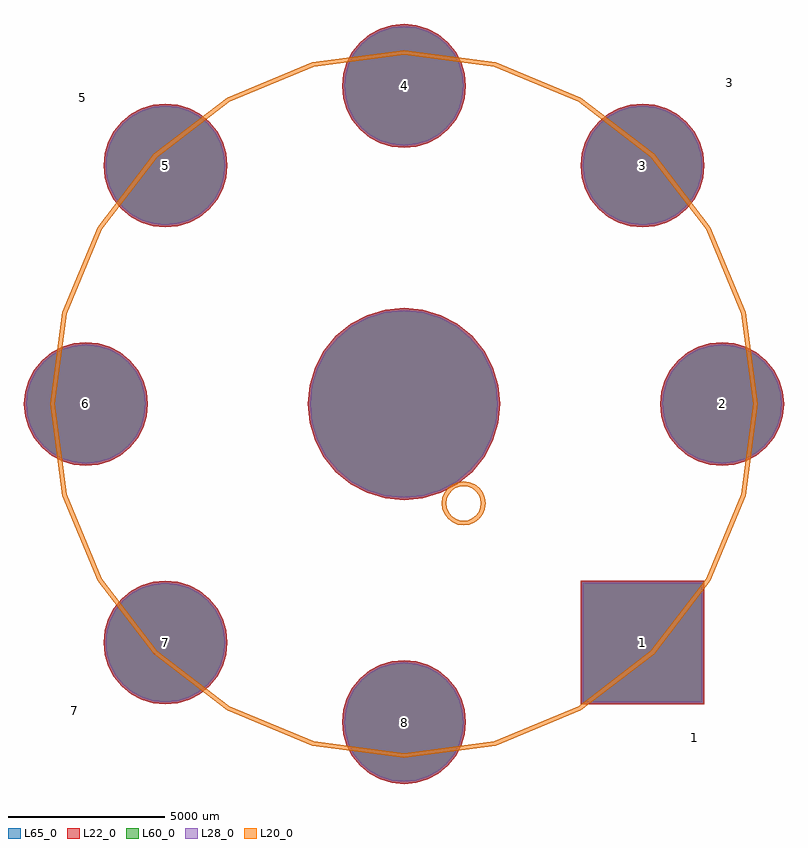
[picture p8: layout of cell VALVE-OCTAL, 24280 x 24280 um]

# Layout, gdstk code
import gdstk
lib = gdstk.Library(unit=1e-6, precision=1e-09)
def R(c, l, rs):  # rectangles x0, y0, x1, y1
    for r in rs: c.add(gdstk.rectangle(r[:2], r[2:], *l))
def P(c, l, *ps):  # polygons
    for p in ps: c.add(gdstk.Polygon(p, *l))
L20_0 = (20, 0)
L22_0 = (22, 0)
L28_0 = (28, 0)
L60_0 = (60, 0)
L65_0 = (65, 0)

valve_octal = lib.new_cell('VALVE-OCTAL')
R(valve_octal, L22_0, [(5640,-9600,9600,-5640)])
P(valve_octal, L22_0, [(3074.74,0),(3015.66,599.852),(2840.689,1176.652),(2556.553,1708.234),(2174.17,2174.17),(1708.234,2556.553),(1176.652,2840.689),(599.852,3015.66),(0,3074.74),(-599.852,3015.66),(-1176.652,2840.689),(-1708.234,2556.553),(-2174.17,2174.17),(-2556.553,1708.234),(-2840.689,1176.652),(-3015.66,599.852),(-3074.74,0),(-3015.66,-599.852),(-2840.689,-1176.652),(-2556.553,-1708.234),(-2174.17,-2174.17),(-1708.234,-2556.553),(-1176.652,-2840.689),(-599.852,-3015.66),(0,-3074.74),(599.852,-3015.66),(1176.652,-2840.689),(1708.234,-2556.553),(2174.17,-2174.17),(2556.553,-1708.234),(2840.689,-1176.652),(3015.66,-599.852)],
  [(1980,-10160),(1941.955,-9773.721),(1829.281,-9402.287),(1646.31,-9059.971),(1400.071,-8759.929),(1100.029,-8513.69),(757.713,-8330.719),(386.279,-8218.045),(0,-8180),(-386.279,-8218.045),(-757.713,-8330.719),(-1100.029,-8513.69),(-1400.071,-8759.929),(-1646.31,-9059.971),(-1829.281,-9402.287),(-1941.955,-9773.721),(-1980,-10160),(-1941.955,-10546.279),(-1829.281,-10917.713),(-1646.31,-11260.029),(-1400.071,-11560.071),(-1100.029,-11806.31),(-757.713,-11989.281),(-386.279,-12101.955),(0,-12140),(386.279,-12101.955),(757.713,-11989.281),(1100.029,-11806.31),(1400.071,-11560.071),(1646.31,-11260.029),(1829.281,-10917.713),(1941.955,-10546.279)],
  [(-5640,-7620),(-5678.045,-7233.721),(-5790.719,-6862.287),(-5973.69,-6519.971),(-6219.929,-6219.929),(-6519.971,-5973.69),(-6862.287,-5790.719),(-7233.721,-5678.045),(-7620,-5640),(-8006.279,-5678.045),(-8377.713,-5790.719),(-8720.029,-5973.69),(-9020.071,-6219.929),(-9266.31,-6519.971),(-9449.281,-6862.287),(-9561.955,-7233.721),(-9600,-7620),(-9561.955,-8006.279),(-9449.281,-8377.713),(-9266.31,-8720.029),(-9020.071,-9020.071),(-8720.029,-9266.31),(-8377.713,-9449.281),(-8006.279,-9561.955),(-7620,-9600),(-7233.721,-9561.955),(-6862.287,-9449.281),(-6519.971,-9266.31),(-6219.929,-9020.071),(-5973.69,-8720.029),(-5790.719,-8377.713),(-5678.045,-8006.279)],
  [(-8180,0),(-8218.045,386.279),(-8330.719,757.713),(-8513.69,1100.029),(-8759.929,1400.071),(-9059.971,1646.31),(-9402.287,1829.281),(-9773.721,1941.955),(-10160,1980),(-10546.279,1941.955),(-10917.713,1829.281),(-11260.029,1646.31),(-11560.071,1400.071),(-11806.31,1100.029),(-11989.281,757.713),(-12101.955,386.279),(-12140,0),(-12101.955,-386.279),(-11989.281,-757.713),(-11806.31,-1100.029),(-11560.071,-1400.071),(-11260.029,-1646.31),(-10917.713,-1829.281),(-10546.279,-1941.955),(-10160,-1980),(-9773.721,-1941.955),(-9402.287,-1829.281),(-9059.971,-1646.31),(-8759.929,-1400.071),(-8513.69,-1100.029),(-8330.719,-757.713),(-8218.045,-386.279)],
  [(-5640,7620),(-5678.045,8006.279),(-5790.719,8377.713),(-5973.69,8720.029),(-6219.929,9020.071),(-6519.971,9266.31),(-6862.287,9449.281),(-7233.721,9561.955),(-7620,9600),(-8006.279,9561.955),(-8377.713,9449.281),(-8720.029,9266.31),(-9020.071,9020.071),(-9266.31,8720.029),(-9449.281,8377.713),(-9561.955,8006.279),(-9600,7620),(-9561.955,7233.721),(-9449.281,6862.287),(-9266.31,6519.971),(-9020.071,6219.929),(-8720.029,5973.69),(-8377.713,5790.719),(-8006.279,5678.045),(-7620,5640),(-7233.721,5678.045),(-6862.287,5790.719),(-6519.971,5973.69),(-6219.929,6219.929),(-5973.69,6519.971),(-5790.719,6862.287),(-5678.045,7233.721)],
  [(1980,10160),(1941.955,10546.279),(1829.281,10917.713),(1646.31,11260.029),(1400.071,11560.071),(1100.029,11806.31),(757.713,11989.281),(386.279,12101.955),(0,12140),(-386.279,12101.955),(-757.713,11989.281),(-1100.029,11806.31),(-1400.071,11560.071),(-1646.31,11260.029),(-1829.281,10917.713),(-1941.955,10546.279),(-1980,10160),(-1941.955,9773.721),(-1829.281,9402.287),(-1646.31,9059.971),(-1400.071,8759.929),(-1100.029,8513.69),(-757.713,8330.719),(-386.279,8218.045),(0,8180),(386.279,8218.045),(757.713,8330.719),(1100.029,8513.69),(1400.071,8759.929),(1646.31,9059.971),(1829.281,9402.287),(1941.955,9773.721)],
  [(9600,7620),(9561.955,8006.279),(9449.281,8377.713),(9266.31,8720.029),(9020.071,9020.071),(8720.029,9266.31),(8377.713,9449.281),(8006.279,9561.955),(7620,9600),(7233.721,9561.955),(6862.287,9449.281),(6519.971,9266.31),(6219.929,9020.071),(5973.69,8720.029),(5790.719,8377.713),(5678.045,8006.279),(5640,7620),(5678.045,7233.721),(5790.719,6862.287),(5973.69,6519.971),(6219.929,6219.929),(6519.971,5973.69),(6862.287,5790.719),(7233.721,5678.045),(7620,5640),(8006.279,5678.045),(8377.713,5790.719),(8720.029,5973.69),(9020.071,6219.929),(9266.31,6519.971),(9449.281,6862.287),(9561.955,7233.721)],
  [(12140,0),(12101.955,386.279),(11989.281,757.713),(11806.31,1100.029),(11560.071,1400.071),(11260.029,1646.31),(10917.713,1829.281),(10546.279,1941.955),(10160,1980),(9773.721,1941.955),(9402.287,1829.281),(9059.971,1646.31),(8759.929,1400.071),(8513.69,1100.029),(8330.719,757.713),(8218.045,386.279),(8180,0),(8218.045,-386.279),(8330.719,-757.713),(8513.69,-1100.029),(8759.929,-1400.071),(9059.971,-1646.31),(9402.287,-1829.281),(9773.721,-1941.955),(10160,-1980),(10546.279,-1941.955),(10917.713,-1829.281),(11260.029,-1646.31),(11560.071,-1400.071),(11806.31,-1100.029),(11989.281,-757.713),(12101.955,-386.279)])
R(valve_octal, L28_0, [(5715,-9525,9525,-5715)])
P(valve_octal, L28_0, [(2999.74,0),(2942.101,585.22),(2771.398,1147.951),(2494.193,1666.566),(2121.136,2121.136),(1666.566,2494.193),(1147.951,2771.398),(585.22,2942.101),(0,2999.74),(-585.22,2942.101),(-1147.951,2771.398),(-1666.566,2494.193),(-2121.136,2121.136),(-2494.193,1666.566),(-2771.398,1147.951),(-2942.101,585.22),(-2999.74,0),(-2942.101,-585.22),(-2771.398,-1147.951),(-2494.193,-1666.566),(-2121.136,-2121.136),(-1666.566,-2494.193),(-1147.951,-2771.398),(-585.22,-2942.101),(0,-2999.74),(585.22,-2942.101),(1147.951,-2771.398),(1666.566,-2494.193),(2121.136,-2121.136),(2494.193,-1666.566),(2771.398,-1147.951),(2942.101,-585.22)],
  [(1905,-10160),(1868.396,-9788.353),(1759.991,-9430.988),(1583.95,-9101.639),(1347.038,-8812.962),(1058.361,-8576.05),(729.012,-8400.009),(371.647,-8291.604),(0,-8255),(-371.647,-8291.604),(-729.012,-8400.009),(-1058.361,-8576.05),(-1347.038,-8812.962),(-1583.95,-9101.639),(-1759.991,-9430.988),(-1868.396,-9788.353),(-1905,-10160),(-1868.396,-10531.647),(-1759.991,-10889.012),(-1583.95,-11218.361),(-1347.038,-11507.038),(-1058.361,-11743.95),(-729.012,-11919.991),(-371.647,-12028.396),(0,-12065),(371.647,-12028.396),(729.012,-11919.991),(1058.361,-11743.95),(1347.038,-11507.038),(1583.95,-11218.361),(1759.991,-10889.012),(1868.396,-10531.647)],
  [(-5715,-7620),(-5751.604,-7248.353),(-5860.009,-6890.988),(-6036.05,-6561.639),(-6272.962,-6272.962),(-6561.639,-6036.05),(-6890.988,-5860.009),(-7248.353,-5751.604),(-7620,-5715),(-7991.647,-5751.604),(-8349.012,-5860.009),(-8678.361,-6036.05),(-8967.038,-6272.962),(-9203.95,-6561.639),(-9379.991,-6890.988),(-9488.396,-7248.353),(-9525,-7620),(-9488.396,-7991.647),(-9379.991,-8349.012),(-9203.95,-8678.361),(-8967.038,-8967.038),(-8678.361,-9203.95),(-8349.012,-9379.991),(-7991.647,-9488.396),(-7620,-9525),(-7248.353,-9488.396),(-6890.988,-9379.991),(-6561.639,-9203.95),(-6272.962,-8967.038),(-6036.05,-8678.361),(-5860.009,-8349.012),(-5751.604,-7991.647)],
  [(-8255,0),(-8291.604,371.647),(-8400.009,729.012),(-8576.05,1058.361),(-8812.962,1347.038),(-9101.639,1583.95),(-9430.988,1759.991),(-9788.353,1868.396),(-10160,1905),(-10531.647,1868.396),(-10889.012,1759.991),(-11218.361,1583.95),(-11507.038,1347.038),(-11743.95,1058.361),(-11919.991,729.012),(-12028.396,371.647),(-12065,0),(-12028.396,-371.647),(-11919.991,-729.012),(-11743.95,-1058.361),(-11507.038,-1347.038),(-11218.361,-1583.95),(-10889.012,-1759.991),(-10531.647,-1868.396),(-10160,-1905),(-9788.353,-1868.396),(-9430.988,-1759.991),(-9101.639,-1583.95),(-8812.962,-1347.038),(-8576.05,-1058.361),(-8400.009,-729.012),(-8291.604,-371.647)],
  [(-5715,7620),(-5751.604,7991.647),(-5860.009,8349.012),(-6036.05,8678.361),(-6272.962,8967.038),(-6561.639,9203.95),(-6890.988,9379.991),(-7248.353,9488.396),(-7620,9525),(-7991.647,9488.396),(-8349.012,9379.991),(-8678.361,9203.95),(-8967.038,8967.038),(-9203.95,8678.361),(-9379.991,8349.012),(-9488.396,7991.647),(-9525,7620),(-9488.396,7248.353),(-9379.991,6890.988),(-9203.95,6561.639),(-8967.038,6272.962),(-8678.361,6036.05),(-8349.012,5860.009),(-7991.647,5751.604),(-7620,5715),(-7248.353,5751.604),(-6890.988,5860.009),(-6561.639,6036.05),(-6272.962,6272.962),(-6036.05,6561.639),(-5860.009,6890.988),(-5751.604,7248.353)],
  [(1905,10160),(1868.396,10531.647),(1759.991,10889.012),(1583.95,11218.361),(1347.038,11507.038),(1058.361,11743.95),(729.012,11919.991),(371.647,12028.396),(0,12065),(-371.647,12028.396),(-729.012,11919.991),(-1058.361,11743.95),(-1347.038,11507.038),(-1583.95,11218.361),(-1759.991,10889.012),(-1868.396,10531.647),(-1905,10160),(-1868.396,9788.353),(-1759.991,9430.988),(-1583.95,9101.639),(-1347.038,8812.962),(-1058.361,8576.05),(-729.012,8400.009),(-371.647,8291.604),(0,8255),(371.647,8291.604),(729.012,8400.009),(1058.361,8576.05),(1347.038,8812.962),(1583.95,9101.639),(1759.991,9430.988),(1868.396,9788.353)],
  [(9525,7620),(9488.396,7991.647),(9379.991,8349.012),(9203.95,8678.361),(8967.038,8967.038),(8678.361,9203.95),(8349.012,9379.991),(7991.647,9488.396),(7620,9525),(7248.353,9488.396),(6890.988,9379.991),(6561.639,9203.95),(6272.962,8967.038),(6036.05,8678.361),(5860.009,8349.012),(5751.604,7991.647),(5715,7620),(5751.604,7248.353),(5860.009,6890.988),(6036.05,6561.639),(6272.962,6272.962),(6561.639,6036.05),(6890.988,5860.009),(7248.353,5751.604),(7620,5715),(7991.647,5751.604),(8349.012,5860.009),(8678.361,6036.05),(8967.038,6272.962),(9203.95,6561.639),(9379.991,6890.988),(9488.396,7248.353)],
  [(12065,0),(12028.396,371.647),(11919.991,729.012),(11743.95,1058.361),(11507.038,1347.038),(11218.361,1583.95),(10889.012,1759.991),(10531.647,1868.396),(10160,1905),(9788.353,1868.396),(9430.988,1759.991),(9101.639,1583.95),(8812.962,1347.038),(8576.05,1058.361),(8400.009,729.012),(8291.604,371.647),(8255,0),(8291.604,-371.647),(8400.009,-729.012),(8576.05,-1058.361),(8812.962,-1347.038),(9101.639,-1583.95),(9430.988,-1759.991),(9788.353,-1868.396),(10160,-1905),(10531.647,-1868.396),(10889.012,-1759.991),(11218.361,-1583.95),(11507.038,-1347.038),(11743.95,-1058.361),(11919.991,-729.012),(12028.396,-371.647)])
R(valve_octal, L60_0, [(5715,-9525,9525,-5715)])
P(valve_octal, L60_0, [(2999.74,0),(2942.101,585.22),(2771.398,1147.951),(2494.193,1666.566),(2121.136,2121.136),(1666.566,2494.193),(1147.951,2771.398),(585.22,2942.101),(0,2999.74),(-585.22,2942.101),(-1147.951,2771.398),(-1666.566,2494.193),(-2121.136,2121.136),(-2494.193,1666.566),(-2771.398,1147.951),(-2942.101,585.22),(-2999.74,0),(-2942.101,-585.22),(-2771.398,-1147.951),(-2494.193,-1666.566),(-2121.136,-2121.136),(-1666.566,-2494.193),(-1147.951,-2771.398),(-585.22,-2942.101),(0,-2999.74),(585.22,-2942.101),(1147.951,-2771.398),(1666.566,-2494.193),(2121.136,-2121.136),(2494.193,-1666.566),(2771.398,-1147.951),(2942.101,-585.22)],
  [(1905,-10160),(1868.396,-9788.353),(1759.991,-9430.988),(1583.95,-9101.639),(1347.038,-8812.962),(1058.361,-8576.05),(729.012,-8400.009),(371.647,-8291.604),(0,-8255),(-371.647,-8291.604),(-729.012,-8400.009),(-1058.361,-8576.05),(-1347.038,-8812.962),(-1583.95,-9101.639),(-1759.991,-9430.988),(-1868.396,-9788.353),(-1905,-10160),(-1868.396,-10531.647),(-1759.991,-10889.012),(-1583.95,-11218.361),(-1347.038,-11507.038),(-1058.361,-11743.95),(-729.012,-11919.991),(-371.647,-12028.396),(0,-12065),(371.647,-12028.396),(729.012,-11919.991),(1058.361,-11743.95),(1347.038,-11507.038),(1583.95,-11218.361),(1759.991,-10889.012),(1868.396,-10531.647)],
  [(-5715,-7620),(-5751.604,-7248.353),(-5860.009,-6890.988),(-6036.05,-6561.639),(-6272.962,-6272.962),(-6561.639,-6036.05),(-6890.988,-5860.009),(-7248.353,-5751.604),(-7620,-5715),(-7991.647,-5751.604),(-8349.012,-5860.009),(-8678.361,-6036.05),(-8967.038,-6272.962),(-9203.95,-6561.639),(-9379.991,-6890.988),(-9488.396,-7248.353),(-9525,-7620),(-9488.396,-7991.647),(-9379.991,-8349.012),(-9203.95,-8678.361),(-8967.038,-8967.038),(-8678.361,-9203.95),(-8349.012,-9379.991),(-7991.647,-9488.396),(-7620,-9525),(-7248.353,-9488.396),(-6890.988,-9379.991),(-6561.639,-9203.95),(-6272.962,-8967.038),(-6036.05,-8678.361),(-5860.009,-8349.012),(-5751.604,-7991.647)],
  [(-8255,0),(-8291.604,371.647),(-8400.009,729.012),(-8576.05,1058.361),(-8812.962,1347.038),(-9101.639,1583.95),(-9430.988,1759.991),(-9788.353,1868.396),(-10160,1905),(-10531.647,1868.396),(-10889.012,1759.991),(-11218.361,1583.95),(-11507.038,1347.038),(-11743.95,1058.361),(-11919.991,729.012),(-12028.396,371.647),(-12065,0),(-12028.396,-371.647),(-11919.991,-729.012),(-11743.95,-1058.361),(-11507.038,-1347.038),(-11218.361,-1583.95),(-10889.012,-1759.991),(-10531.647,-1868.396),(-10160,-1905),(-9788.353,-1868.396),(-9430.988,-1759.991),(-9101.639,-1583.95),(-8812.962,-1347.038),(-8576.05,-1058.361),(-8400.009,-729.012),(-8291.604,-371.647)],
  [(-5715,7620),(-5751.604,7991.647),(-5860.009,8349.012),(-6036.05,8678.361),(-6272.962,8967.038),(-6561.639,9203.95),(-6890.988,9379.991),(-7248.353,9488.396),(-7620,9525),(-7991.647,9488.396),(-8349.012,9379.991),(-8678.361,9203.95),(-8967.038,8967.038),(-9203.95,8678.361),(-9379.991,8349.012),(-9488.396,7991.647),(-9525,7620),(-9488.396,7248.353),(-9379.991,6890.988),(-9203.95,6561.639),(-8967.038,6272.962),(-8678.361,6036.05),(-8349.012,5860.009),(-7991.647,5751.604),(-7620,5715),(-7248.353,5751.604),(-6890.988,5860.009),(-6561.639,6036.05),(-6272.962,6272.962),(-6036.05,6561.639),(-5860.009,6890.988),(-5751.604,7248.353)],
  [(1905,10160),(1868.396,10531.647),(1759.991,10889.012),(1583.95,11218.361),(1347.038,11507.038),(1058.361,11743.95),(729.012,11919.991),(371.647,12028.396),(0,12065),(-371.647,12028.396),(-729.012,11919.991),(-1058.361,11743.95),(-1347.038,11507.038),(-1583.95,11218.361),(-1759.991,10889.012),(-1868.396,10531.647),(-1905,10160),(-1868.396,9788.353),(-1759.991,9430.988),(-1583.95,9101.639),(-1347.038,8812.962),(-1058.361,8576.05),(-729.012,8400.009),(-371.647,8291.604),(0,8255),(371.647,8291.604),(729.012,8400.009),(1058.361,8576.05),(1347.038,8812.962),(1583.95,9101.639),(1759.991,9430.988),(1868.396,9788.353)],
  [(9525,7620),(9488.396,7991.647),(9379.991,8349.012),(9203.95,8678.361),(8967.038,8967.038),(8678.361,9203.95),(8349.012,9379.991),(7991.647,9488.396),(7620,9525),(7248.353,9488.396),(6890.988,9379.991),(6561.639,9203.95),(6272.962,8967.038),(6036.05,8678.361),(5860.009,8349.012),(5751.604,7991.647),(5715,7620),(5751.604,7248.353),(5860.009,6890.988),(6036.05,6561.639),(6272.962,6272.962),(6561.639,6036.05),(6890.988,5860.009),(7248.353,5751.604),(7620,5715),(7991.647,5751.604),(8349.012,5860.009),(8678.361,6036.05),(8967.038,6272.962),(9203.95,6561.639),(9379.991,6890.988),(9488.396,7248.353)],
  [(12065,0),(12028.396,371.647),(11919.991,729.012),(11743.95,1058.361),(11507.038,1347.038),(11218.361,1583.95),(10889.012,1759.991),(10531.647,1868.396),(10160,1905),(9788.353,1868.396),(9430.988,1759.991),(9101.639,1583.95),(8812.962,1347.038),(8576.05,1058.361),(8400.009,729.012),(8291.604,371.647),(8255,0),(8291.604,-371.647),(8400.009,-729.012),(8576.05,-1058.361),(8812.962,-1347.038),(9101.639,-1583.95),(9430.988,-1759.991),(9788.353,-1868.396),(10160,-1905),(10531.647,-1868.396),(10889.012,-1759.991),(11218.361,-1583.95),(11507.038,-1347.038),(11743.95,-1058.361),(11919.991,-729.012),(12028.396,-371.647)])
R(valve_octal, L65_0, [(5640,-9600,9600,-5640)])
P(valve_octal, L65_0, [(3074.74,0),(3015.66,599.852),(2840.689,1176.652),(2556.553,1708.234),(2174.17,2174.17),(1708.234,2556.553),(1176.652,2840.689),(599.852,3015.66),(0,3074.74),(-599.852,3015.66),(-1176.652,2840.689),(-1708.234,2556.553),(-2174.17,2174.17),(-2556.553,1708.234),(-2840.689,1176.652),(-3015.66,599.852),(-3074.74,0),(-3015.66,-599.852),(-2840.689,-1176.652),(-2556.553,-1708.234),(-2174.17,-2174.17),(-1708.234,-2556.553),(-1176.652,-2840.689),(-599.852,-3015.66),(0,-3074.74),(599.852,-3015.66),(1176.652,-2840.689),(1708.234,-2556.553),(2174.17,-2174.17),(2556.553,-1708.234),(2840.689,-1176.652),(3015.66,-599.852)],
  [(1980,-10160),(1941.955,-9773.721),(1829.281,-9402.287),(1646.31,-9059.971),(1400.071,-8759.929),(1100.029,-8513.69),(757.713,-8330.719),(386.279,-8218.045),(0,-8180),(-386.279,-8218.045),(-757.713,-8330.719),(-1100.029,-8513.69),(-1400.071,-8759.929),(-1646.31,-9059.971),(-1829.281,-9402.287),(-1941.955,-9773.721),(-1980,-10160),(-1941.955,-10546.279),(-1829.281,-10917.713),(-1646.31,-11260.029),(-1400.071,-11560.071),(-1100.029,-11806.31),(-757.713,-11989.281),(-386.279,-12101.955),(0,-12140),(386.279,-12101.955),(757.713,-11989.281),(1100.029,-11806.31),(1400.071,-11560.071),(1646.31,-11260.029),(1829.281,-10917.713),(1941.955,-10546.279)],
  [(-5640,-7620),(-5678.045,-7233.721),(-5790.719,-6862.287),(-5973.69,-6519.971),(-6219.929,-6219.929),(-6519.971,-5973.69),(-6862.287,-5790.719),(-7233.721,-5678.045),(-7620,-5640),(-8006.279,-5678.045),(-8377.713,-5790.719),(-8720.029,-5973.69),(-9020.071,-6219.929),(-9266.31,-6519.971),(-9449.281,-6862.287),(-9561.955,-7233.721),(-9600,-7620),(-9561.955,-8006.279),(-9449.281,-8377.713),(-9266.31,-8720.029),(-9020.071,-9020.071),(-8720.029,-9266.31),(-8377.713,-9449.281),(-8006.279,-9561.955),(-7620,-9600),(-7233.721,-9561.955),(-6862.287,-9449.281),(-6519.971,-9266.31),(-6219.929,-9020.071),(-5973.69,-8720.029),(-5790.719,-8377.713),(-5678.045,-8006.279)],
  [(-8180,0),(-8218.045,386.279),(-8330.719,757.713),(-8513.69,1100.029),(-8759.929,1400.071),(-9059.971,1646.31),(-9402.287,1829.281),(-9773.721,1941.955),(-10160,1980),(-10546.279,1941.955),(-10917.713,1829.281),(-11260.029,1646.31),(-11560.071,1400.071),(-11806.31,1100.029),(-11989.281,757.713),(-12101.955,386.279),(-12140,0),(-12101.955,-386.279),(-11989.281,-757.713),(-11806.31,-1100.029),(-11560.071,-1400.071),(-11260.029,-1646.31),(-10917.713,-1829.281),(-10546.279,-1941.955),(-10160,-1980),(-9773.721,-1941.955),(-9402.287,-1829.281),(-9059.971,-1646.31),(-8759.929,-1400.071),(-8513.69,-1100.029),(-8330.719,-757.713),(-8218.045,-386.279)],
  [(-5640,7620),(-5678.045,8006.279),(-5790.719,8377.713),(-5973.69,8720.029),(-6219.929,9020.071),(-6519.971,9266.31),(-6862.287,9449.281),(-7233.721,9561.955),(-7620,9600),(-8006.279,9561.955),(-8377.713,9449.281),(-8720.029,9266.31),(-9020.071,9020.071),(-9266.31,8720.029),(-9449.281,8377.713),(-9561.955,8006.279),(-9600,7620),(-9561.955,7233.721),(-9449.281,6862.287),(-9266.31,6519.971),(-9020.071,6219.929),(-8720.029,5973.69),(-8377.713,5790.719),(-8006.279,5678.045),(-7620,5640),(-7233.721,5678.045),(-6862.287,5790.719),(-6519.971,5973.69),(-6219.929,6219.929),(-5973.69,6519.971),(-5790.719,6862.287),(-5678.045,7233.721)],
  [(1980,10160),(1941.955,10546.279),(1829.281,10917.713),(1646.31,11260.029),(1400.071,11560.071),(1100.029,11806.31),(757.713,11989.281),(386.279,12101.955),(0,12140),(-386.279,12101.955),(-757.713,11989.281),(-1100.029,11806.31),(-1400.071,11560.071),(-1646.31,11260.029),(-1829.281,10917.713),(-1941.955,10546.279),(-1980,10160),(-1941.955,9773.721),(-1829.281,9402.287),(-1646.31,9059.971),(-1400.071,8759.929),(-1100.029,8513.69),(-757.713,8330.719),(-386.279,8218.045),(0,8180),(386.279,8218.045),(757.713,8330.719),(1100.029,8513.69),(1400.071,8759.929),(1646.31,9059.971),(1829.281,9402.287),(1941.955,9773.721)],
  [(9600,7620),(9561.955,8006.279),(9449.281,8377.713),(9266.31,8720.029),(9020.071,9020.071),(8720.029,9266.31),(8377.713,9449.281),(8006.279,9561.955),(7620,9600),(7233.721,9561.955),(6862.287,9449.281),(6519.971,9266.31),(6219.929,9020.071),(5973.69,8720.029),(5790.719,8377.713),(5678.045,8006.279),(5640,7620),(5678.045,7233.721),(5790.719,6862.287),(5973.69,6519.971),(6219.929,6219.929),(6519.971,5973.69),(6862.287,5790.719),(7233.721,5678.045),(7620,5640),(8006.279,5678.045),(8377.713,5790.719),(8720.029,5973.69),(9020.071,6219.929),(9266.31,6519.971),(9449.281,6862.287),(9561.955,7233.721)],
  [(12140,0),(12101.955,386.279),(11989.281,757.713),(11806.31,1100.029),(11560.071,1400.071),(11260.029,1646.31),(10917.713,1829.281),(10546.279,1941.955),(10160,1980),(9773.721,1941.955),(9402.287,1829.281),(9059.971,1646.31),(8759.929,1400.071),(8513.69,1100.029),(8330.719,757.713),(8218.045,386.279),(8180,0),(8218.045,-386.279),(8330.719,-757.713),(8513.69,-1100.029),(8759.929,-1400.071),(9059.971,-1646.31),(9402.287,-1829.281),(9773.721,-1941.955),(10160,-1980),(10546.279,-1941.955),(10917.713,-1829.281),(11260.029,-1646.31),(11560.071,-1400.071),(11806.31,-1100.029),(11989.281,-757.713),(12101.955,-386.279)])
valve_octal.add(gdstk.FlexPath([(-7937.5,-7937.5),(-5612.66,-9721.412),(-2905.327,-10842.827),(0,-11225.32),(2905.327,-10842.827),(5612.66,-9721.412),(7937.5,-7937.5),(9721.412,-5612.66),(10842.827,-2905.327),(11225.32,0),(10842.827,2905.327),(9721.412,5612.66),(7937.5,7937.5),(5612.66,9721.412),(2905.327,10842.827),(0,11225.32),(-2905.327,10842.827),(-5612.66,9721.412),(-7937.5,7937.5),(-9721.412,5612.66),(-10842.827,2905.327),(-11225.32,0),(-10842.827,-2905.327),(-9721.412,-5612.66),(-7937.5,-7937.5)], 149.998, ends="flush", simple_path=True, layer=20, datatype=0))  # L20_0
valve_octal.add(gdstk.FlexPath([(2349.5,-3619.5),(2449.399,-3489.309),(2512.198,-3337.698),(2533.618,-3175),(2512.198,-3012.302),(2449.399,-2860.691),(2349.5,-2730.5),(2219.309,-2630.601),(2067.698,-2567.802),(1905,-2546.382),(1742.302,-2567.802),(1590.691,-2630.601),(1460.5,-2730.5),(1360.601,-2860.691),(1297.802,-3012.302),(1276.382,-3175),(1297.802,-3337.698),(1360.601,-3489.309),(1460.5,-3619.5),(1590.691,-3719.399),(1742.302,-3782.198),(1905,-3803.618),(2067.698,-3782.198),(2219.309,-3719.399),(2349.5,-3619.5)], 149.998, ends="flush", simple_path=True, layer=20, datatype=0))  # L20_0
valve_octal.add(gdstk.Label('8', (0,-10160), layer=28, texttype=0))
valve_octal.add(gdstk.Label('7', (-7620,-7620), layer=28, texttype=0))
valve_octal.add(gdstk.Label('6', (-10160,0), layer=28, texttype=0))
valve_octal.add(gdstk.Label('5', (-7620,7620), layer=28, texttype=0))
valve_octal.add(gdstk.Label('4', (0,10160), layer=28, texttype=0))
valve_octal.add(gdstk.Label('3', (7620,7620), layer=28, texttype=0))
valve_octal.add(gdstk.Label('2', (10160,0), layer=28, texttype=0))
valve_octal.add(gdstk.Label('1', (7620,-7620), layer=28, texttype=0))
valve_octal.add(gdstk.Label('8', (0,-13335), layer=9, texttype=0))
valve_octal.add(gdstk.Label('7', (-10541,-9779), layer=9, texttype=0))
valve_octal.add(gdstk.Label('6', (-13716,127), layer=9, texttype=0))
valve_octal.add(gdstk.Label('5', (-10287,9779), layer=9, texttype=0))
valve_octal.add(gdstk.Label('4', (-127,14097), layer=9, texttype=0))
valve_octal.add(gdstk.Label('3', (10414,10287), layer=9, texttype=0))
valve_octal.add(gdstk.Label('2', (13716,127), layer=9, texttype=0))
valve_octal.add(gdstk.Label('1', (9271,-10668), layer=9, texttype=0))
valve_octal.add(gdstk.Label('type', (15494,-4572), layer=9, texttype=0))
valve_octal.add(gdstk.Label('devicename', (19050,5334), layer=9, texttype=0))

lib.write_gds('VALVE-OCTAL.gds')
